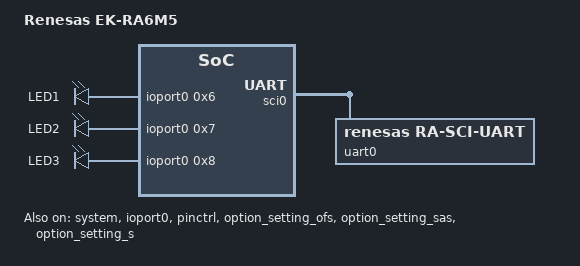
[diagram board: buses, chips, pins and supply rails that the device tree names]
/dts-v1/;

/ {
	#address-cells = < 0x1 >;
	#size-cells = < 0x1 >;
	model = "Renesas EK-RA6M5";
	compatible = "renesas,ra6m5", "renesas,ra";
	chosen {
		zephyr,sram = &sram0;
		zephyr,flash = &flash0;
		zephyr,console = &uart0;
		zephyr,shell-uart = &uart0;
	};
	aliases {
		led0 = &led1;
	};
	soc {
		#address-cells = < 0x1 >;
		#size-cells = < 0x1 >;
		compatible = "simple-bus";
		interrupt-parent = < &nvic >;
		ranges;
		nvic: interrupt-controller@e000e100 {
			#address-cells = < 0x1 >;
			compatible = "arm,v8m-nvic";
			reg = < 0xe000e100 0xc00 >;
			interrupt-controller;
			#interrupt-cells = < 0x2 >;
			arm,num-irq-priority-bits = < 0x4 >;
			phandle = < 0x1 >;
		};
		systick: timer@e000e010 {
			compatible = "arm,armv8m-systick";
			reg = < 0xe000e010 0x10 >;
		};
		system: system@4001e000 {
			compatible = "renesas,ra-system";
			reg = < 0x4001e000 0x1000 >;
			status = "okay";
		};
		ioport0: gpio@40080000 {
			compatible = "renesas,ra-gpio-ioport";
			reg = < 0x40080000 0x20 >;
			port = < 0x0 >;
			gpio-controller;
			#gpio-cells = < 0x2 >;
			ngpios = < 0x10 >;
			status = "okay";
			phandle = < 0x4 >;
		};
		ioport1: gpio@40080020 {
			compatible = "renesas,ra-gpio-ioport";
			reg = < 0x40080020 0x20 >;
			port = < 0x1 >;
			gpio-controller;
			#gpio-cells = < 0x2 >;
			ngpios = < 0x10 >;
			status = "disabled";
		};
		ioport2: gpio@40080040 {
			compatible = "renesas,ra-gpio-ioport";
			reg = < 0x40080040 0x20 >;
			port = < 0x2 >;
			gpio-controller;
			#gpio-cells = < 0x2 >;
			ngpios = < 0x10 >;
			status = "disabled";
		};
		ioport3: gpio@40080060 {
			compatible = "renesas,ra-gpio-ioport";
			reg = < 0x40080060 0x20 >;
			port = < 0x3 >;
			gpio-controller;
			#gpio-cells = < 0x2 >;
			ngpios = < 0x10 >;
			status = "disabled";
		};
		ioport4: gpio@40080080 {
			compatible = "renesas,ra-gpio-ioport";
			reg = < 0x40080080 0x20 >;
			port = < 0x4 >;
			gpio-controller;
			#gpio-cells = < 0x2 >;
			ngpios = < 0x10 >;
			status = "disabled";
		};
		ioport5: gpio@400800a0 {
			compatible = "renesas,ra-gpio-ioport";
			reg = < 0x400800a0 0x20 >;
			port = < 0x5 >;
			gpio-controller;
			#gpio-cells = < 0x2 >;
			ngpios = < 0x10 >;
			status = "disabled";
		};
		pinctrl: pin-contrller@40080800 {
			compatible = "renesas,ra-pinctrl-pfs";
			reg = < 0x40080800 0x3c0 >;
			status = "okay";
			sci0_default: sci0_default {
				phandle = < 0x3 >;
				group1 {
					psels = < 0x24b4 >, < 0x24a4 >;
				};
			};
		};
		sci0: sci0@40118000 {
			compatible = "renesas,ra-sci";
			interrupts = < 0x0 0x1 >, < 0x1 0x1 >, < 0x2 0x1 >, < 0x3 0x1 >;
			interrupt-names = "rxi", "txi", "tei", "eri";
			reg = < 0x40118000 0x100 >;
			clocks = < &pclka 0x1 0x1f >;
			status = "okay";
			pinctrl-0 = < &sci0_default >;
			pinctrl-names = "default";
			uart0: uart {
				compatible = "renesas,ra-sci-uart";
				channel = < 0x0 >;
				status = "okay";
				current-speed = < 0x1c200 >;
			};
		};
		sci9: sci9@40118900 {
			compatible = "renesas,ra-sci";
			interrupts = < 0x24 0x1 >, < 0x25 0x1 >, < 0x26 0x1 >, < 0x27 0x1 >;
			interrupt-names = "rxi", "txi", "tei", "eri";
			reg = < 0x40118900 0x100 >;
			clocks = < &pclka 0x1 0x16 >;
			status = "disabled";
			uart {
				compatible = "renesas,ra-sci-uart";
				channel = < 0x9 >;
				status = "disabled";
			};
		};
		option_setting_ofs: option_setting_ofs@100a100 {
			compatible = "zephyr,memory-region";
			reg = < 0x100a100 0x18 >;
			zephyr,memory-region = "OPTION_SETTING_OFS";
			status = "okay";
		};
		option_setting_sas: option_setting_sas@100a134 {
			compatible = "zephyr,memory-region";
			reg = < 0x100a134 0xcc >;
			zephyr,memory-region = "OPTION_SETTING_SAS";
			status = "okay";
		};
		option_setting_s: option_setting_s@100a200 {
			compatible = "zephyr,memory-region";
			reg = < 0x100a200 0x100 >;
			zephyr,memory-region = "OPTION_SETTING_S";
			status = "okay";
		};
		sram0: memory@20000000 {
			compatible = "mmio-sram";
			reg = < 0x20000000 0x80000 >;
		};
		ioport6: gpio@400800c0 {
			compatible = "renesas,ra-gpio-ioport";
			reg = < 0x400800c0 0x20 >;
			port = < 0x6 >;
			gpio-controller;
			#gpio-cells = < 0x2 >;
			ngpios = < 0x10 >;
			status = "disabled";
		};
		ioport7: gpio@400800e0 {
			compatible = "renesas,ra-gpio-ioport";
			reg = < 0x400800e0 0x20 >;
			port = < 0x7 >;
			gpio-controller;
			#gpio-cells = < 0x2 >;
			ngpios = < 0x10 >;
			status = "disabled";
		};
		ioport8: gpio@40080100 {
			compatible = "renesas,ra-gpio-ioport";
			reg = < 0x40080100 0x20 >;
			port = < 0x8 >;
			gpio-controller;
			#gpio-cells = < 0x2 >;
			ngpios = < 0x10 >;
			status = "disabled";
		};
		ioport9: gpio@40080120 {
			compatible = "renesas,ra-gpio-ioport";
			reg = < 0x40080120 0x20 >;
			port = < 0x9 >;
			gpio-controller;
			#gpio-cells = < 0x2 >;
			ngpios = < 0x10 >;
			status = "disabled";
		};
		ioporta: gpio@40080140 {
			compatible = "renesas,ra-gpio-ioport";
			reg = < 0x40080140 0x20 >;
			port = < 0xa >;
			gpio-controller;
			#gpio-cells = < 0x2 >;
			ngpios = < 0x10 >;
			status = "disabled";
		};
		ioportb: gpio@40080160 {
			compatible = "renesas,ra-gpio-ioport";
			reg = < 0x40080160 0x20 >;
			port = < 0xb >;
			gpio-controller;
			#gpio-cells = < 0x2 >;
			ngpios = < 0x10 >;
			status = "disabled";
		};
		sci1: sci1@40118100 {
			compatible = "renesas,ra-sci";
			interrupts = < 0x4 0x1 >, < 0x5 0x1 >, < 0x6 0x1 >, < 0x7 0x1 >;
			interrupt-names = "rxi", "txi", "tei", "eri";
			reg = < 0x40118100 0x100 >;
			clocks = < &pclka 0x1 0x1e >;
			status = "disabled";
			uart {
				compatible = "renesas,ra-sci-uart";
				channel = < 0x1 >;
				status = "disabled";
			};
		};
		sci2: sci2@40118200 {
			compatible = "renesas,ra-sci";
			interrupts = < 0x8 0x1 >, < 0x9 0x1 >, < 0xa 0x1 >, < 0xb 0x1 >;
			interrupt-names = "rxi", "txi", "tei", "eri";
			reg = < 0x40118200 0x100 >;
			clocks = < &pclka 0x1 0x1d >;
			status = "disabled";
			uart {
				compatible = "renesas,ra-sci-uart";
				channel = < 0x2 >;
				status = "disabled";
			};
		};
		sci3: sci3@40118300 {
			compatible = "renesas,ra-sci";
			interrupts = < 0xc 0x1 >, < 0xd 0x1 >, < 0xe 0x1 >, < 0xf 0x1 >;
			interrupt-names = "rxi", "txi", "tei", "eri";
			reg = < 0x40118300 0x100 >;
			clocks = < &pclka 0x1 0x1c >;
			status = "disabled";
			uart {
				compatible = "renesas,ra-sci-uart";
				channel = < 0x3 >;
				status = "disabled";
			};
		};
		sci4: sci4@40118400 {
			compatible = "renesas,ra-sci";
			interrupts = < 0x10 0x1 >, < 0x11 0x1 >, < 0x12 0x1 >, < 0x13 0x1 >;
			interrupt-names = "rxi", "txi", "tei", "eri";
			reg = < 0x40118400 0x100 >;
			clocks = < &pclka 0x1 0x1b >;
			status = "disabled";
			uart {
				compatible = "renesas,ra-sci-uart";
				channel = < 0x4 >;
				status = "disabled";
			};
		};
		sci5: sci5@40118500 {
			compatible = "renesas,ra-sci";
			interrupts = < 0x14 0x1 >, < 0x15 0x1 >, < 0x16 0x1 >, < 0x17 0x1 >;
			interrupt-names = "rxi", "txi", "tei", "eri";
			reg = < 0x40118500 0x100 >;
			clocks = < &pclka 0x1 0x1a >;
			status = "disabled";
			uart {
				compatible = "renesas,ra-sci-uart";
				channel = < 0x5 >;
				status = "disabled";
			};
		};
		sci6: sci6@40118600 {
			compatible = "renesas,ra-sci";
			interrupts = < 0x18 0x1 >, < 0x19 0x1 >, < 0x1a 0x1 >, < 0x1b 0x1 >;
			interrupt-names = "rxi", "txi", "tei", "eri";
			reg = < 0x40118600 0x100 >;
			clocks = < &pclka 0x1 0x19 >;
			status = "disabled";
			uart {
				compatible = "renesas,ra-sci-uart";
				channel = < 0x6 >;
				status = "disabled";
			};
		};
		sci7: sci7@40118700 {
			compatible = "renesas,ra-sci";
			interrupts = < 0x1c 0x1 >, < 0x1d 0x1 >, < 0x1e 0x1 >, < 0x1f 0x1 >;
			interrupt-names = "rxi", "txi", "tei", "eri";
			reg = < 0x40118700 0x100 >;
			clocks = < &pclka 0x1 0x18 >;
			status = "disabled";
			uart {
				compatible = "renesas,ra-sci-uart";
				channel = < 0x7 >;
				status = "disabled";
			};
		};
		sci8: sci8@40118800 {
			compatible = "renesas,ra-sci";
			interrupts = < 0x20 0x1 >, < 0x21 0x1 >, < 0x22 0x1 >, < 0x23 0x1 >;
			interrupt-names = "rxi", "txi", "tei", "eri";
			reg = < 0x40118800 0x100 >;
			clocks = < &pclka 0x1 0x17 >;
			status = "disabled";
			uart {
				compatible = "renesas,ra-sci-uart";
				channel = < 0x8 >;
				status = "disabled";
			};
		};
		flash-controller@407e0000 {
			reg = < 0x407e0000 0x1000 >;
			#address-cells = < 0x1 >;
			#size-cells = < 0x1 >;
			flash0: flash@0 {
				compatible = "soc-nv-flash";
				reg = < 0x0 0x200000 >;
			};
		};
	};
	cpus {
		#address-cells = < 0x1 >;
		#size-cells = < 0x0 >;
		cpu@0 {
			device_type = "cpu";
			compatible = "arm,cortex-m33";
			reg = < 0x0 >;
			#address-cells = < 0x1 >;
			#size-cells = < 0x1 >;
			mpu: mpu@e000ed90 {
				compatible = "arm,armv8m-mpu";
				reg = < 0xe000ed90 0x40 >;
			};
		};
	};
	clocks: clocks {
		#address-cells = < 0x1 >;
		#size-cells = < 0x1 >;
		xtal: clock-xtal {
			compatible = "renesas,ra-cgc-external-clock";
			clock-frequency = < 0x16e3600 >;
			#clock-cells = < 0x0 >;
			status = "okay";
			mosel = < 0x0 >;
		};
		hoco: clock-hoco {
			compatible = "fixed-clock";
			clock-frequency = < 0x1312d00 >;
			#clock-cells = < 0x0 >;
		};
		moco: clock-moco {
			compatible = "fixed-clock";
			clock-frequency = < 0x7a1200 >;
			#clock-cells = < 0x0 >;
		};
		loco: clock-loco {
			compatible = "fixed-clock";
			clock-frequency = < 0x8000 >;
			#clock-cells = < 0x0 >;
		};
		subclk: clock-subclk {
			compatible = "renesas,ra-cgc-subclk";
			clock-frequency = < 0x8000 >;
			#clock-cells = < 0x0 >;
			status = "okay";
		};
		pll: pll {
			compatible = "renesas,ra-cgc-pll";
			#clock-cells = < 0x0 >;
			source = < 0x3 >;
			div = < 0x2 >;
			mul = < 0x19 0x0 >;
			status = "okay";
		};
		pll2: pll2 {
			compatible = "renesas,ra-cgc-pll";
			#clock-cells = < 0x0 >;
			source = < 0xff >;
			div = < 0x1 >;
			mul = < 0x14 0x0 >;
			status = "disabled";
		};
		pclkblock: pclkblock@40084000 {
			compatible = "renesas,ra-cgc-pclk-block";
			reg = < 0x40084000 0x4 >, < 0x40084004 0x4 >, < 0x40084008 0x4 >, < 0x4008400c 0x4 >, < 0x40084010 0x4 >;
			reg-names = "MSTPA", "MSTPB", "MSTPC", "MSTPD", "MSTPE";
			#clock-cells = < 0x0 >;
			sysclock-src = < 0x5 >;
			status = "okay";
			iclk: iclk {
				compatible = "renesas,ra-cgc-pclk";
				clk-div = < 0x0 >;
				#clock-cells = < 0x2 >;
				status = "okay";
			};
			pclka: pclka {
				compatible = "renesas,ra-cgc-pclk";
				clk-div = < 0x1 >;
				#clock-cells = < 0x2 >;
				status = "okay";
				phandle = < 0x2 >;
			};
			pclkb: pclkb {
				compatible = "renesas,ra-cgc-pclk";
				clk-div = < 0x2 >;
				#clock-cells = < 0x2 >;
				status = "okay";
			};
			pclkc: pclkc {
				compatible = "renesas,ra-cgc-pclk";
				clk-div = < 0x2 >;
				#clock-cells = < 0x2 >;
				status = "okay";
			};
			pclkd: pclkd {
				compatible = "renesas,ra-cgc-pclk";
				clk-div = < 0x1 >;
				#clock-cells = < 0x2 >;
				status = "okay";
			};
			bclk: bclk {
				compatible = "renesas,ra-cgc-pclk";
				clk-div = < 0x1 >;
				#clock-cells = < 0x2 >;
				status = "okay";
				bclkout: bclkout {
					compatible = "renesas,ra-cgc-busclk";
					clk-out-div = < 0x2 >;
					sdclk = < 0x0 >;
					#clock-cells = < 0x0 >;
				};
			};
			fclk: fclk {
				compatible = "renesas,ra-cgc-pclk";
				clk-div = < 0x2 >;
				#clock-cells = < 0x2 >;
				status = "okay";
			};
			clkout: clkout {
				compatible = "renesas,ra-cgc-pclk";
				#clock-cells = < 0x2 >;
				status = "disabled";
			};
			uclk: uclk {
				compatible = "renesas,ra-cgc-pclk";
				#clock-cells = < 0x2 >;
				status = "disabled";
			};
			u60clk: u60clk {
				compatible = "renesas,ra-cgc-pclk";
				#clock-cells = < 0x2 >;
				status = "disabled";
			};
			octaspiclk: octaspiclk {
				compatible = "renesas,ra-cgc-pclk";
				#clock-cells = < 0x2 >;
				status = "disabled";
			};
			canfdclk: canfdclk {
				compatible = "renesas,ra-cgc-pclk";
				#clock-cells = < 0x2 >;
				status = "disabled";
			};
			cecclk: cecclk {
				compatible = "renesas,ra-cgc-pclk";
				#clock-cells = < 0x2 >;
				status = "disabled";
			};
		};
	};
	leds {
		compatible = "gpio-leds";
		led1: led1 {
			gpios = < &ioport0 0x6 0x0 >;
			label = "LED1";
		};
		led2: led2 {
			gpios = < &ioport0 0x7 0x0 >;
			label = "LED2";
		};
		led3: led3 {
			gpios = < &ioport0 0x8 0x0 >;
			label = "LED3";
		};
	};
};
